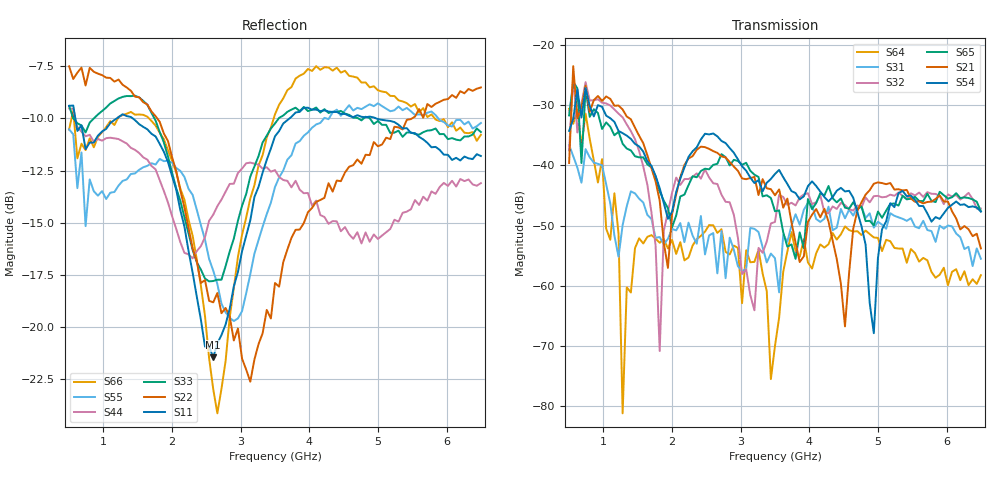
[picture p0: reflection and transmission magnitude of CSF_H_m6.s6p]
!Keysight Technologies,M9804A,MY58100912,A.14.10.03
!Date: Thursday, April 27, 2023 10:28:33
!Correction: S11(C  6-Port  )
!S12(C  6-Port  )
!S13(C  6-Port  )
!S14(C  6-Port  )
!S15(C  6-Port  )
!S16(C  6-Port  )
!S21(C  6-Port  )
!S22(C  6-Port  )
!S23(C  6-Port  )
!S24(C  6-Port  )
!S25(C  6-Port  )
!S26(C  6-Port  )
!S31(C  6-Port  )
!S32(C  6-Port  )
!S33(C  6-Port  )
!S34(C  6-Port  )
!S35(C  6-Port  )
!S36(C  6-Port  )
!S41(C  6-Port  )
!S42(C  6-Port  )
!S43(C  6-Port  )
!S44(C  6-Port  )
!S45(C  6-Port  )
!S46(C  6-Port  )
!S51(C  6-Port  )
!S52(C  6-Port  )
!S53(C  6-Port  )
!S54(C  6-Port  )
!S55(C  6-Port  )
!S56(C  6-Port  )
!S61(C  6-Port  )
!S62(C  6-Port  )
!S63(C  6-Port  )
!S64(C  6-Port  )
!S65(C  6-Port  )
!S66(C  6-Port  )
!S6P File: Measurement: :
# Hz S  RI  R 50
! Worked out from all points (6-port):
!   101 points, 500 MHz to 6.5 GHz, reference 50 ohm
!   strongest paths, dB at 500 MHz, 2 GHz, 3.5 GHz, 5 GHz, 6.5 GHz:
!     S54: -34.2, -47.7, -41.4, -55.4, -47.7
!     S21: -39.6, -48.1, -45.0, -42.8, -53.8
!     S65: -31.7, -50.3, -47.6, -47.7, -47.6
!     S32: -37.5, -44.6, -49.4, -45.1, -47.2
!     S31: -36.6, -50.6, -55.4, -49.4, -55.5
!     S64: -30.6, -52.4, -70.0, -52.1, -58.3
!   lowest |S11| = -21.5 dB at 2.6 GHz (marker M1), VSWR 1.18, Z = 42.5 + j2.17 ohm
!   |S11| at or under -10 dB: 590.5 MHz to 1.192 GHz (601.6 MHz wide, 67.5 % of centre); 1.428 GHz to 3.711 GHz (2.283 GHz wide, 88.8 % of centre); 4.976 GHz to end of sweep
